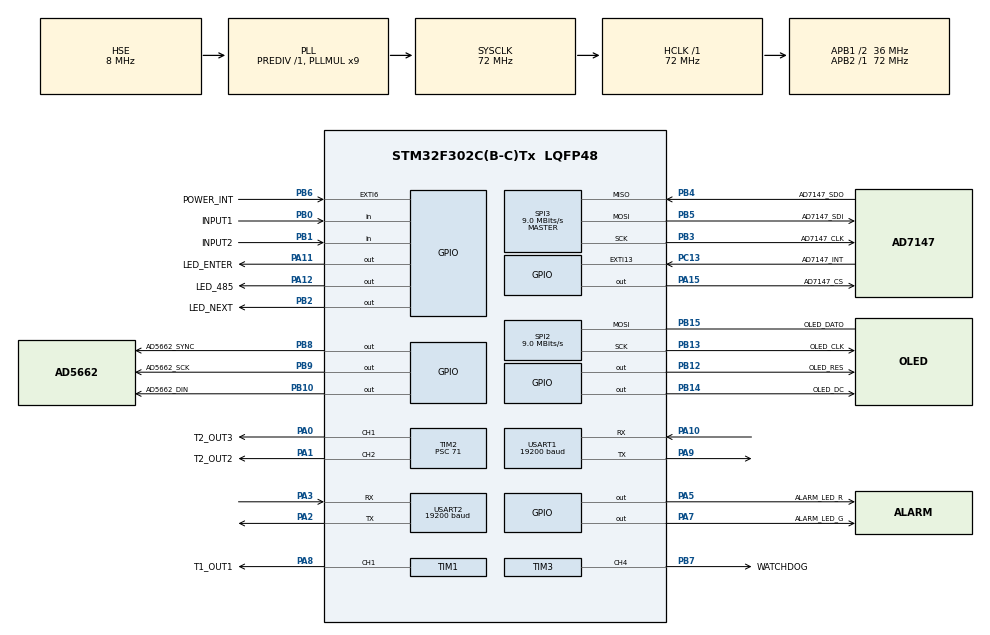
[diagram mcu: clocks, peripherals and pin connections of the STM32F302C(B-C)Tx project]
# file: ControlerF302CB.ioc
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Dma.Request0=USART2_RX
Dma.Request1=USART2_TX
Dma.Request2=USART1_TX
Dma.Request3=USART1_RX
Dma.USART1_RX.3.Direction=DMA_PERIPH_TO_MEMORY
Dma.USART1_RX.3.Instance=DMA1_Channel5
Dma.USART1_RX.3.MemDataAlignment=DMA_MDATAALIGN_BYTE
Dma.USART1_RX.3.MemInc=DMA_MINC_ENABLE
Dma.USART1_RX.3.Mode=DMA_NORMAL
Dma.USART1_RX.3.PeriphDataAlignment=DMA_PDATAALIGN_BYTE
Dma.USART1_RX.3.PeriphInc=DMA_PINC_DISABLE
Dma.USART1_RX.3.Priority=DMA_PRIORITY_LOW
Dma.USART1_TX.2.Direction=DMA_MEMORY_TO_PERIPH
Dma.USART1_TX.2.Instance=DMA1_Channel4
Dma.USART1_TX.2.MemDataAlignment=DMA_MDATAALIGN_BYTE
Dma.USART1_TX.2.MemInc=DMA_MINC_ENABLE
Dma.USART1_TX.2.Mode=DMA_NORMAL
Dma.USART1_TX.2.PeriphDataAlignment=DMA_PDATAALIGN_BYTE
Dma.USART1_TX.2.PeriphInc=DMA_PINC_DISABLE
Dma.USART1_TX.2.Priority=DMA_PRIORITY_LOW
Dma.USART2_RX.0.Direction=DMA_PERIPH_TO_MEMORY
Dma.USART2_RX.0.Instance=DMA1_Channel6
Dma.USART2_RX.0.MemDataAlignment=DMA_MDATAALIGN_BYTE
Dma.USART2_RX.0.MemInc=DMA_MINC_ENABLE
Dma.USART2_RX.0.Mode=DMA_NORMAL
Dma.USART2_RX.0.PeriphDataAlignment=DMA_PDATAALIGN_BYTE
Dma.USART2_RX.0.PeriphInc=DMA_PINC_DISABLE
Dma.USART2_RX.0.Priority=DMA_PRIORITY_LOW
Dma.USART2_TX.1.Direction=DMA_MEMORY_TO_PERIPH
Dma.USART2_TX.1.Instance=DMA1_Channel7
Dma.USART2_TX.1.MemDataAlignment=DMA_MDATAALIGN_BYTE
Dma.USART2_TX.1.MemInc=DMA_MINC_ENABLE
Dma.USART2_TX.1.Mode=DMA_NORMAL
Dma.USART2_TX.1.PeriphDataAlignment=DMA_PDATAALIGN_BYTE
Dma.USART2_TX.1.PeriphInc=DMA_PINC_DISABLE
Dma.USART2_TX.1.Priority=DMA_PRIORITY_LOW
FREERTOS.INCLUDE_uxTaskGetStackHighWaterMark=1
FREERTOS.Tasks01=defaultTask,0,128,StartDefaultTask,Default,NULL,Dynamic,NULL,NULL
FREERTOS.configGENERATE_RUN_TIME_STATS=1
FREERTOS.configMAX_PRIORITIES=20
FREERTOS.configMAX_TASK_NAME_LEN=20
FREERTOS.configQUEUE_REGISTRY_SIZE=12
FREERTOS.configTOTAL_HEAP_SIZE=20480
FREERTOS.configUSE_STATS_FORMATTING_FUNCTIONS=1
FREERTOS.configUSE_TIMERS=1
FREERTOS.configUSE_TRACE_FACILITY=1
Mcu.Family=STM32F3
Mcu.Name=STM32F302C(B-C)Tx
Mcu.Package=LQFP48
NVIC.DMA1_Channel4_IRQn=true\:5\:0\:false\:false\:true\:true\:false
NVIC.DMA1_Channel5_IRQn=true\:5\:0\:false\:false\:true\:true\:false
NVIC.DMA1_Channel6_IRQn=true\:5\:0\:false\:false\:true\:true\:false
NVIC.DMA1_Channel7_IRQn=true\:5\:0\:false\:false\:true\:true\:false
NVIC.EXTI15_10_IRQn=true\:5\:0\:false\:false\:true\:true\:true
NVIC.PriorityGroup=NVIC_PRIORITYGROUP_4
NVIC.TIM6_DAC_IRQn=true\:5\:0\:false\:false\:true\:true\:true
NVIC.USART1_IRQn=true\:5\:0\:false\:false\:true\:true\:true
NVIC.USART2_IRQn=true\:5\:0\:false\:false\:true\:true\:true
PA0.GPIO_Label=T2_OUT3
PA0.Signal=S_TIM2_CH1_ETR
PA1.GPIO_Label=T2_OUT2
PA1.Signal=S_TIM2_CH2
PA10.Mode=Asynchronous
PA10.Signal=USART1_RX
PA11.GPIO_Label=LED_ENTER
PA11.GPIO_PuPd=GPIO_PULLUP
PA11.Signal=GPIO_Output
PA12.GPIO_Label=LED_485
PA12.GPIO_PuPd=GPIO_PULLUP
PA12.Signal=GPIO_Output
PA13.Mode=Serial_Wire
PA13.Signal=SYS_JTMS-SWDIO
PA14.Mode=Serial_Wire
PA14.Signal=SYS_JTCK-SWCLK
PA15.GPIO_Label=AD7147_CS
PA15.GPIO_PuPd=GPIO_PULLUP
PA15.Signal=GPIO_Output
PA2.Mode=Asynchronous
PA2.Signal=USART2_TX
PA3.Mode=Asynchronous
PA3.Signal=USART2_RX
PA5.GPIO_Label=ALARM_LED_R
PA5.GPIO_PuPd=GPIO_PULLUP
PA5.Signal=GPIO_Output
PA7.GPIO_Label=ALARM_LED_G
PA7.GPIO_PuPd=GPIO_PULLUP
PA7.Signal=GPIO_Output
PA8.GPIO_Label=T1_OUT1
PA8.Signal=S_TIM1_CH1
PA9.Mode=Asynchronous
PA9.Signal=USART1_TX
PB0.GPIO_Label=INPUT1
PB0.GPIO_PuPd=GPIO_PULLUP
PB0.Signal=GPIO_Input
PB1.GPIO_Label=INPUT2
PB1.GPIO_PuPd=GPIO_PULLUP
PB1.Signal=GPIO_Input
PB10.GPIO_Label=AD5662_DIN
PB10.GPIO_PuPd=GPIO_PULLUP
PB10.GPIO_Speed=GPIO_SPEED_FREQ_HIGH
PB10.Signal=GPIO_Output
PB12.GPIO_Label=OLED_RES
PB12.GPIO_PuPd=GPIO_NOPULL
PB12.GPIO_Speed=GPIO_SPEED_FREQ_HIGH
PB12.PinState=GPIO_PIN_SET
PB12.Signal=GPIO_Output
PB13.GPIO_Label=OLED_CLK
PB13.Mode=Simplex_Bidirectional_Master
PB13.Signal=SPI2_SCK
PB14.GPIO_Label=OLED_DC
PB14.GPIO_ModeDefaultOutputPP=GPIO_MODE_OUTPUT_PP
PB14.GPIO_PuPd=GPIO_NOPULL
PB14.GPIO_Speed=GPIO_SPEED_FREQ_HIGH
PB14.PinState=GPIO_PIN_SET
PB14.Signal=GPIO_Output
PB15.GPIO_Label=OLED_DATO
PB15.Mode=Simplex_Bidirectional_Master
PB15.Signal=SPI2_MOSI
PB2.GPIO_Label=LED_NEXT
PB2.GPIO_PuPd=GPIO_PULLUP
PB2.Signal=GPIO_Output
PB3.GPIO_Label=AD7147_CLK
PB3.Mode=Full_Duplex_Master
PB3.Signal=SPI3_SCK
PB4.GPIO_Label=AD7147_SDO
PB4.Mode=Full_Duplex_Master
PB4.Signal=SPI3_MISO
PB5.GPIO_Label=AD7147_SDI
PB5.Mode=Full_Duplex_Master
PB5.Signal=SPI3_MOSI
PB6.GPIO_Label=POWER_INT
PB6.GPIO_ModeDefaultEXTI=GPIO_MODE_IT_FALLING
PB6.GPIO_PuPd=GPIO_PULLUP
PB6.Signal=GPXTI6
PB7.GPIO_Label=WATCHDOG
PB7.Signal=S_TIM3_CH4
PB8.GPIO_Label=AD5662_SYNC
PB8.GPIO_PuPd=GPIO_PULLUP
PB8.GPIO_Speed=GPIO_SPEED_FREQ_HIGH
PB8.Signal=GPIO_Output
PB9.GPIO_Label=AD5662_SCK
PB9.GPIO_PuPd=GPIO_PULLUP
PB9.GPIO_Speed=GPIO_SPEED_FREQ_HIGH
PB9.Signal=GPIO_Output
PC13.GPIO_Label=AD7147_INT
PC13.GPIO_ModeDefaultEXTI=GPIO_MODE_IT_FALLING
PC13.GPIO_PuPd=GPIO_PULLUP
PC13.Signal=GPXTI13
PF0-OSC_IN.Mode=HSE-External-Clock-Source
PF0-OSC_IN.Signal=RCC_OSC_IN
ProjectManager.HeapSize=0x200
ProjectManager.StackSize=0x400
ProjectManager.TargetToolchain=MDK-ARM V5
RCC.AHBFreq_Value=72000000
RCC.APB1CLKDivider=RCC_HCLK_DIV2
RCC.APB1Freq_Value=36000000
RCC.APB1TimFreq_Value=72000000
RCC.APB2Freq_Value=72000000
RCC.APB2TimFreq_Value=72000000
RCC.CortexFreq_Value=72000000
RCC.HCLKFreq_Value=72000000
RCC.HSE_VALUE=8000000
RCC.HSI_VALUE=8000000
RCC.LSE_VALUE=32768
RCC.PLLMUL=RCC_PLL_MUL9
RCC.PLLSourceVirtual=RCC_PLLSOURCE_HSE
RCC.SYSCLKFreq_VALUE=72000000
RCC.SYSCLKSourceVirtual=RCC_SYSCLKSOURCE_PLLCLK
RCC.USBFreq_Value=72000000
SH.S_TIM1_CH1.0=TIM1_CH1,PWM Generation1 CH1
SH.S_TIM2_CH1_ETR.0=TIM2_CH1,PWM Generation1 CH1
SH.S_TIM2_CH2.0=TIM2_CH2,PWM Generation2 CH2
SH.S_TIM3_CH4.0=TIM3_CH4,PWM Generation4 CH4
SPI2.BaudRatePrescaler=SPI_BAUDRATEPRESCALER_4
SPI2.CLKPhase=SPI_PHASE_2EDGE
SPI2.CLKPolarity=SPI_POLARITY_HIGH
SPI2.CalculateBaudRate=9.0 MBits/s
SPI2.DataSize=SPI_DATASIZE_8BIT
SPI2.Direction=SPI_DIRECTION_1LINE
SPI2.Mode=SPI_MODE_MASTER
SPI2.VirtualType=VM_MASTER
SPI3.BaudRatePrescaler=SPI_BAUDRATEPRESCALER_4
SPI3.CLKPhase=SPI_PHASE_2EDGE
SPI3.CLKPolarity=SPI_POLARITY_HIGH
SPI3.CalculateBaudRate=9.0 MBits/s
SPI3.DataSize=SPI_DATASIZE_16BIT
SPI3.Direction=SPI_DIRECTION_2LINES
SPI3.Mode=SPI_MODE_MASTER
SPI3.VirtualType=VM_MASTER
TIM1.AutoReloadPreload=TIM_AUTORELOAD_PRELOAD_ENABLE
TIM1.Channel-PWM\ Generation1\ CH1=TIM_CHANNEL_1
TIM1.Period=9999
TIM1.Prescaler=71
TIM1.Pulse-PWM\ Generation1\ CH1=5000
TIM2.AutoReloadPreload=TIM_AUTORELOAD_PRELOAD_ENABLE
TIM2.Channel-PWM\ Generation1\ CH1=TIM_CHANNEL_1
TIM2.Channel-PWM\ Generation2\ CH2=TIM_CHANNEL_2
TIM2.Period=9999
TIM2.Prescaler=71
TIM2.Pulse-PWM\ Generation1\ CH1=5000
TIM2.Pulse-PWM\ Generation2\ CH2=5000
TIM3.AutoReloadPreload=TIM_AUTORELOAD_PRELOAD_ENABLE
TIM3.Channel-PWM\ Generation4\ CH4=TIM_CHANNEL_4
TIM3.OCPolarity_4=TIM_OCPOLARITY_HIGH
TIM3.Period=9999
TIM3.Prescaler=71
TIM3.Pulse-PWM\ Generation4\ CH4=5000
TIM6.AutoReloadPreload=TIM_AUTORELOAD_PRELOAD_ENABLE
TIM6.Period=200
TIM6.Prescaler=71
USART1.BaudRate=19200
USART1.StopBits=STOPBITS_2
USART1.VirtualMode-Asynchronous=VM_ASYNC
USART2.BaudRate=19200
USART2.DMADisableonRxErrorParam-Asynchronous=ADVFEATURE_DMA_ENABLEONRXERROR
USART2.DataInvertParam-Asynchronous=ADVFEATURE_DATAINV_DISABLE
USART2.MSBFirstParam-Asynchronous=ADVFEATURE_MSBFIRST_DISABLE
USART2.OverrunDisableParam-Asynchronous=ADVFEATURE_OVERRUN_ENABLE
USART2.RxPinLevelInvertParam-Asynchronous=ADVFEATURE_RXINV_DISABLE
USART2.StopBits=STOPBITS_2
USART2.SwapParam-Asynchronous=ADVFEATURE_SWAP_DISABLE
USART2.TxPinLevelInvertParam=ADVFEATURE_TXINV_DISABLE
USART2.VirtualMode-Asynchronous=VM_ASYNC
VP_FREERTOS_VS_ENABLE.Mode=Enabled
VP_TIM6_VS_ClockSourceINT.Mode=Enable_Timer
board=custom

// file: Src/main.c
/**
  ******************************************************************************
  * @file           : main.c
  * @brief          : Main program body
  ******************************************************************************
  * This notice applies to any and all portions of this file
  * that are not between comment pairs USER CODE BEGIN and
  * USER CODE END. Other portions of this file, whether
  * inserted by the user or by software development tools
  * are owned by their respective copyright owners.
  *
  * Copyright (c) 2018 STMicroelectronics International N.V.
  * All rights reserved.
  *
  * Redistribution and use in source and binary forms, with or without
  * modification, are permitted, provided that the following conditions are met:
  *
  * 1. Redistribution of source code must retain the above copyright notice,
  *    this list of conditions and the following disclaimer.
  * 2. Redistributions in binary form must reproduce the above copyright notice,
  *    this list of conditions and the following disclaimer in the documentation
  *    and/or other materials provided with the distribution.
  * 3. Neither the name of STMicroelectronics nor the names of other
  *    contributors to this software may be used to endorse or promote products
  *    derived from this software without specific written permission.
  * 4. This software, including modifications and/or derivative works of this
  *    software, must execute solely and exclusively on microcontroller or
  *    microprocessor devices manufactured by or for STMicroelectronics.
  * 5. Redistribution and use of this software other than as permitted under
  *    this license is void and will automatically terminate your rights under
  *    this license.
  *
  * THIS SOFTWARE IS PROVIDED BY STMICROELECTRONICS AND CONTRIBUTORS "AS IS"
  * AND ANY EXPRESS, IMPLIED OR STATUTORY WARRANTIES, INCLUDING, BUT NOT
  * LIMITED TO, THE IMPLIED WARRANTIES OF MERCHANTABILITY, FITNESS FOR A
  * PARTICULAR PURPOSE AND NON-INFRINGEMENT OF THIRD PARTY INTELLECTUAL PROPERTY
  * RIGHTS ARE DISCLAIMED TO THE FULLEST EXTENT PERMITTED BY LAW. IN NO EVENT
  * SHALL STMICROELECTRONICS OR CONTRIBUTORS BE LIABLE FOR ANY DIRECT, INDIRECT,
  * INCIDENTAL, SPECIAL, EXEMPLARY, OR CONSEQUENTIAL DAMAGES (INCLUDING, BUT NOT
  * LIMITED TO, PROCUREMENT OF SUBSTITUTE GOODS OR SERVICES; LOSS OF USE, DATA,
  * OR PROFITS; OR BUSINESS INTERRUPTION) HOWEVER CAUSED AND ON ANY THEORY OF
  * LIABILITY, WHETHER IN CONTRACT, STRICT LIABILITY, OR TORT (INCLUDING
  * NEGLIGENCE OR OTHERWISE) ARISING IN ANY WAY OUT OF THE USE OF THIS SOFTWARE,
  * EVEN IF ADVISED OF THE POSSIBILITY OF SUCH DAMAGE.
  *
  ******************************************************************************
  */
#include "main.h"
#include "stm32f3xx_hal.h"
#include "cmsis_os.h"
#include "dma.h"
#include "spi.h"
#include "tim.h"
#include "usart.h"
#include "gpio.h"

/* USER CODE BEGIN Includes */
#include "uhead.h"
#include "modbus_req_task.h"
#include "modbus_rsp_task.h"
#include "CUIGUI_LCDDRIVER.H"
#include "AD5662.h"

/* USER CODE END Includes */

/* USER CODE BEGIN PV */
/* Private variables ---------------------------------------------------------*/

/* USER CODE END PV */

void SystemClock_Config(void);
void MX_FREERTOS_Init(void);

/* USER CODE BEGIN PFP */
/* Private function prototypes -----------------------------------------------*/

/* USER CODE END PFP */

int main(void)
{

  /* MCU Configuration----------------------------------------------------------*/

  /* Reset of all peripherals, Initializes the Flash interface and the Systick. */
  HAL_Init();

  /* Configure the system clock */
  SystemClock_Config();

  /* Initialize all configured peripherals */
  MX_GPIO_Init();
  MX_DMA_Init();
  MX_SPI2_Init();
  MX_SPI3_Init();
  MX_TIM1_Init();
  MX_TIM2_Init();
  MX_USART1_UART_Init();
  MX_USART2_UART_Init();
  MX_TIM6_Init();
  MX_TIM3_Init();
  /* USER CODE BEGIN 2 */

	//启动看门狗脉冲
	HAL_TIM_PWM_Start(&htim3,TIM_CHANNEL_4);//开启PWM通道

	CUIGUI_Init();
	AD5662_Init();
	printf("start:\r\n");

  /* USER CODE END 2 */

  /* Call init function for freertos objects (in freertos.c) */
  MX_FREERTOS_Init();

  /* Start scheduler */
  osKernelStart();

  /* We should never get here as control is now taken by the scheduler */

  /* Infinite loop */
  while (1)
  {

  }

}

void SystemClock_Config(void)
{

  RCC_OscInitTypeDef RCC_OscInitStruct;
  RCC_ClkInitTypeDef RCC_ClkInitStruct;
  RCC_PeriphCLKInitTypeDef PeriphClkInit;

    /**Initializes the CPU, AHB and APB busses clocks
    */
  RCC_OscInitStruct.OscillatorType = RCC_OSCILLATORTYPE_HSE;
  RCC_OscInitStruct.HSEState = RCC_HSE_BYPASS;
  RCC_OscInitStruct.HSEPredivValue = RCC_HSE_PREDIV_DIV1;
  RCC_OscInitStruct.HSIState = RCC_HSI_ON;
  RCC_OscInitStruct.PLL.PLLState = RCC_PLL_ON;
  RCC_OscInitStruct.PLL.PLLSource = RCC_PLLSOURCE_HSE;
  RCC_OscInitStruct.PLL.PLLMUL = RCC_PLL_MUL9;
  if (HAL_RCC_OscConfig(&RCC_OscInitStruct) != HAL_OK)
  {
    _Error_Handler(__FILE__, __LINE__);
  }

    /**Initializes the CPU, AHB and APB busses clocks
    */
  RCC_ClkInitStruct.ClockType = RCC_CLOCKTYPE_HCLK|RCC_CLOCKTYPE_SYSCLK
                              |RCC_CLOCKTYPE_PCLK1|RCC_CLOCKTYPE_PCLK2;
  RCC_ClkInitStruct.SYSCLKSource = RCC_SYSCLKSOURCE_PLLCLK;
  RCC_ClkInitStruct.AHBCLKDivider = RCC_SYSCLK_DIV1;
  RCC_ClkInitStruct.APB1CLKDivider = RCC_HCLK_DIV2;
  RCC_ClkInitStruct.APB2CLKDivider = RCC_HCLK_DIV1;

  if (HAL_RCC_ClockConfig(&RCC_ClkInitStruct, FLASH_LATENCY_2) != HAL_OK)
  {
    _Error_Handler(__FILE__, __LINE__);
  }

  PeriphClkInit.PeriphClockSelection = RCC_PERIPHCLK_USART1|RCC_PERIPHCLK_USART2
                              |RCC_PERIPHCLK_TIM1;
  PeriphClkInit.Usart1ClockSelection = RCC_USART1CLKSOURCE_PCLK2;
  PeriphClkInit.Usart2ClockSelection = RCC_USART2CLKSOURCE_PCLK1;
  PeriphClkInit.Tim1ClockSelection = RCC_TIM1CLK_HCLK;
  if (HAL_RCCEx_PeriphCLKConfig(&PeriphClkInit) != HAL_OK)
  {
    _Error_Handler(__FILE__, __LINE__);
  }

    /**Configure the Systick interrupt time
    */
  HAL_SYSTICK_Config(HAL_RCC_GetHCLKFreq()/1000);

    /**Configure the Systick
    */
  HAL_SYSTICK_CLKSourceConfig(SYSTICK_CLKSOURCE_HCLK);

  /* SysTick_IRQn interrupt configuration */
  HAL_NVIC_SetPriority(SysTick_IRQn, 15, 0);
}

void _Error_Handler(char *file, int line)
{
  /* USER CODE BEGIN Error_Handler_Debug */
  /* User can add his own implementation to report the HAL error return state */
	printf("ERROR file: %s \r\n line:%d",file,line);
  while(1)
  {
  }
  /* USER CODE END Error_Handler_Debug */
}

/************************ (C) COPYRIGHT STMicroelectronics *****END OF FILE****/

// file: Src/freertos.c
/**
  ******************************************************************************
  * File Name          : freertos.c
  * Description        : Code for freertos applications
  ******************************************************************************
  * This notice applies to any and all portions of this file
  * that are not between comment pairs USER CODE BEGIN and
  * USER CODE END. Other portions of this file, whether
  * inserted by the user or by software development tools
  * are owned by their respective copyright owners.
  *
  * Copyright (c) 2018 STMicroelectronics International N.V.
  * All rights reserved.
  *
  * Redistribution and use in source and binary forms, with or without
  * modification, are permitted, provided that the following conditions are met:
  *
  * 1. Redistribution of source code must retain the above copyright notice,
  *    this list of conditions and the following disclaimer.
  * 2. Redistributions in binary form must reproduce the above copyright notice,
  *    this list of conditions and the following disclaimer in the documentation
  *    and/or other materials provided with the distribution.
  * 3. Neither the name of STMicroelectronics nor the names of other
  *    contributors to this software may be used to endorse or promote products
  *    derived from this software without specific written permission.
  * 4. This software, including modifications and/or derivative works of this
  *    software, must execute solely and exclusively on microcontroller or
  *    microprocessor devices manufactured by or for STMicroelectronics.
  * 5. Redistribution and use of this software other than as permitted under
  *    this license is void and will automatically terminate your rights under
  *    this license.
  *
  * THIS SOFTWARE IS PROVIDED BY STMICROELECTRONICS AND CONTRIBUTORS "AS IS"
  * AND ANY EXPRESS, IMPLIED OR STATUTORY WARRANTIES, INCLUDING, BUT NOT
  * LIMITED TO, THE IMPLIED WARRANTIES OF MERCHANTABILITY, FITNESS FOR A
  * PARTICULAR PURPOSE AND NON-INFRINGEMENT OF THIRD PARTY INTELLECTUAL PROPERTY
  * RIGHTS ARE DISCLAIMED TO THE FULLEST EXTENT PERMITTED BY LAW. IN NO EVENT
  * SHALL STMICROELECTRONICS OR CONTRIBUTORS BE LIABLE FOR ANY DIRECT, INDIRECT,
  * INCIDENTAL, SPECIAL, EXEMPLARY, OR CONSEQUENTIAL DAMAGES (INCLUDING, BUT NOT
  * LIMITED TO, PROCUREMENT OF SUBSTITUTE GOODS OR SERVICES; LOSS OF USE, DATA,
  * OR PROFITS; OR BUSINESS INTERRUPTION) HOWEVER CAUSED AND ON ANY THEORY OF
  * LIABILITY, WHETHER IN CONTRACT, STRICT LIABILITY, OR TORT (INCLUDING
  * NEGLIGENCE OR OTHERWISE) ARISING IN ANY WAY OUT OF THE USE OF THIS SOFTWARE,
  * EVEN IF ADVISED OF THE POSSIBILITY OF SUCH DAMAGE.
  *
  ******************************************************************************
  */

#include "FreeRTOS.h"
#include "task.h"
#include "cmsis_os.h"

/* USER CODE BEGIN Includes */
#include "task_project.h"
#include "uhead.H"

//#include "KEYSCAN_TASK.H"
/* USER CODE END Includes */

osThreadId defaultTaskHandle;

/* USER CODE BEGIN Variables */
extern void keyTimerCallBack(TimerHandle_t xTimer);//定时器回调函数
/* USER CODE END Variables */

void StartDefaultTask(void const * argument);

void MX_FREERTOS_Init(void); /* (MISRA C 2004 rule 8.1) */

/* Hook prototypes */
void configureTimerForRunTimeStats(void);
unsigned long getRunTimeCounterValue(void);

/* USER CODE BEGIN 1 */
/* Functions needed when configGENERATE_RUN_TIME_STATS is on */
__weak void configureTimerForRunTimeStats(void)
{

}

__weak unsigned long getRunTimeCounterValue(void)
{
return 0;
}
/* USER CODE END 1 */

/* Init FreeRTOS */

void MX_FREERTOS_Init(void) {
  /* USER CODE BEGIN Init */

	Task_CreatTrave();
  /* USER CODE END Init */

  /* USER CODE BEGIN RTOS_TIMERS */
  /* start timers, add new ones, ... */

  timerHandle = xTimerCreate("keyTimer",2000,pdFALSE,(void*)1,(TimerCallbackFunction_t)keyTimerCallBack);
  /* USER CODE END RTOS_TIMERS */

  /* Create the thread(s) */
  /* definition and creation of defaultTask */
  osThreadDef(defaultTask, StartDefaultTask, osPriorityNormal, 0, 128);
  defaultTaskHandle = osThreadCreate(osThread(defaultTask), NULL);

}

/* StartDefaultTask function */
void StartDefaultTask(void const * argument)
{

  for(;;)
  {
    osDelay(1);
  }
}

/************************ (C) COPYRIGHT STMicroelectronics *****END OF FILE****/
